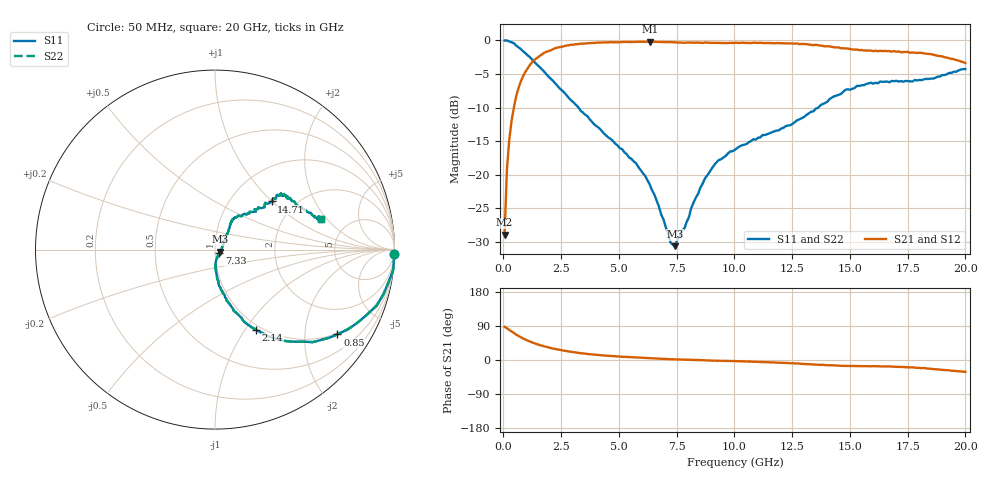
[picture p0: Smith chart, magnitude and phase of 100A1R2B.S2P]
!  American Technical Ceramics  Date:  3/13/98
!  One Norden Lane
!  Huntington Station,  NY.  11746-2102
!  Tel:  (516) 547-5700  Fax:  (516) 547-5748
!  Part Number  100A1R2B
!  Description: Porcelain, High Q, Low ESR
!  Application: Bypass, Coupling, Timing, Feedback
!  Tuning, Impedance Match, Blocking
# GHZ S DB R 50
! Freq  |S11|  S11 Ph  |S21|  S21 Ph  |S12|  S12 Ph  |S22|  S22 Ph
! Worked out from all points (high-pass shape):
!   201 points, 50 MHz to 20 GHz, reference 50 ohm
!   highest |S21| = -0.19 dB at 6.33 GHz (marker M1); lowest = -28.9 dB at 50 MHz (marker M2)
!   |S21| within 3 dB of the highest: 1.253 GHz to 19.87 GHz (18.61 GHz wide, 176 % of centre)
!   lowest |S11| = -30.7 dB at 7.43 GHz (marker M3), VSWR 1.06, Z = 52.8 - j1.18 ohm
!   |S11| at or under -10 dB: 3.251 GHz to 13.63 GHz (10.38 GHz wide, 123 % of centre)
!   |S22| runs from -30.7 to 0.0 dB; largest |S21 - S12| = 0
!   S11 on the Smith chart (normalised r, x): 50 MHz: -0, -79; 850 MHz: 0.96, -2.91; 2.14 GHz: 0.94, -1.12; 7.33 GHz: 1.05, -0.04; 14.71 GHz: 1.53, +0.99; 20 GHz: 3.16, +1.71
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0.05  0.00 -1.4  -28.93 87.5  -28.93 87.5  0.00 -1.4
0.15  -0.01 -6.7  -19.24 83.8  -19.24 83.8  -0.01 -6.7
0.25  -0.15 -10.9  -14.85 79.4  -14.85 79.4  -0.15 -10.9
0.55  -0.75 -23.7  -8.33 67.0  -8.33 67.0  -0.75 -23.7
0.85  -1.62 -34.7  -5.32 56.8  -5.32 56.8  -1.62 -34.7
1.35  -3.26 -48.4  -2.87 44.0  -2.87 44.0  -3.26 -48.4
2.14  -6.00 -63.0  -1.31 30.2  -1.31 30.2  -6.00 -63.0
3.44  -10.74 -77.2  -0.46 17.5  -0.46 17.5  -10.74 -77.2
5.74  -18.31 -87.7  -0.21 6.6  -0.21 6.6  -18.31 -87.7
6.33  -21.45 -88.0  -0.19 4.8  -0.19 4.8  -21.45 -88.0
6.73  -24.74 -82.6  -0.21 3.5  -0.21 3.5  -24.74 -82.6
7.33  -30.43 -37.4  -0.27 1.9  -0.27 1.9  -30.43 -37.4
7.43  -30.66 -22.4  -0.28 1.7  -0.28 1.7  -30.66 -22.4
8.73  -20.52 50.2  -0.31 -0.8  -0.31 -0.8  -20.52 50.2
9.23  -18.12 54.2  -0.37 -1.9  -0.37 -1.9  -18.12 54.2
10.03  -16.27 57.5  -0.34 -3.0  -0.34 -3.0  -16.27 57.5
11.82  -13.44 58.1  -0.40 -7.0  -0.40 -7.0  -13.44 58.1
13.42  -10.57 45.2  -0.70 -11.9  -0.70 -11.9  -10.57 45.2
14.71  -7.65 40.3  -1.16 -15.5  -1.16 -15.5  -7.65 40.3
16.71  -6.24 38.0  -1.59 -16.8  -1.59 -16.8  -6.24 38.0
18.2  -5.80 31.8  -1.93 -21.0  -1.93 -21.0  -5.80 31.8
20  -4.26 16.0  -3.37 -31.1  -3.37 -31.1  -4.26 16.0
